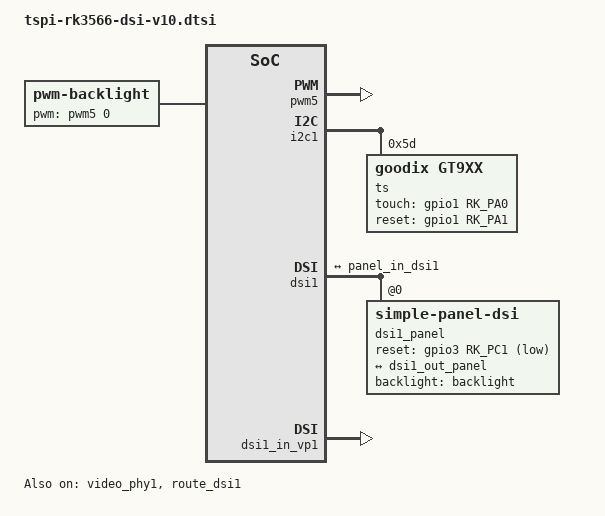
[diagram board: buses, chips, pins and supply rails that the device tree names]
// SPDX-License-Identifier: (GPL-2.0+ OR MIT)
/*
 * Copyright (c) 2020 Rockchip Electronics Co., Ltd.
 *
 */
/*********************************************************************
 *           立创开发板不靠卖板赚钱，以培养中国工程师为己任          
 *         泰山派软硬件资料与相关扩展板软硬件资料官网全部开源		 
 *                      开发板官网：www.lckfb.com                    
 *                     立创论坛：oshwhub.com/forum                   
 *            关注B站：【立创开发板】，掌握我们的最新动态！          
 *********************************************************************
 * 文件名：tspi-rk3566-dsi-v10.dtsi
 * 描述：mipi 屏幕
 * 更新:
 * 时间          作者           联系           说明
 * 2023-07-21   吴才成    1378913492@qq.com   v1.0.0
 * 2023-12-26   风漠兮    578118086@qq.com    Fit STL6.0-1-2-A
 *********************************************************************/
/ {
	backlight: backlight {
		compatible = "pwm-backlight";
		pwms = <&pwm5 0 25000 0>;
		brightness-levels = <
			  0 20 20 20 20 20 20 20
			  21 21 21 21 21 21 21 21
			  22 22 22 22 22 22 22 22
			  23 23 23 23 23 23 23 23
			  24 24 24 24 24 24 24 24
			  25 25 25 25 25 25 25 25
			  26 26 26 26 26 26 26 26
			  27 27 27 27 27 27 27 27
			  28 28 28 28 28 28 28 28
			  29 29 29 29 29 29 29 29
			  30 30 30 30 30 30 30 30
			  31 31 31 31 31 31 31 31
			  32 32 32 32 32 32 32 32
			  33 33 33 33 33 33 33 33
			  34 34 34 34 34 34 34 34
			  35 35 35 35 35 35 35 35
			  36 36 36 36 36 36 36 36
			  37 37 37 37 37 37 37 37
			  38 38 38 38 38 38 38 38
			  39 39 39 39 39 39 39 39
			  40 40 40 40 40 40 40 40
			  41 41 41 41 41 41 41 41
			  42 42 42 42 42 42 42 42
			  43 43 43 43 43 43 43 43
			  44 44 44 44 44 44 44 44
			  45 45 45 45 45 45 45 45
			  46 46 46 46 46 46 46 46
			  47 47 47 47 47 47 47 47
			  48 48 48 48 48 48 48 48
			  49 49 49 49 49 49 49 49
			  50 50 50 50 50 50 50 50
			  51 51 51 51 51 51 51 51
			  256
		>;
		default-brightness-level = <192>;
	};
};

&pwm5 {
	status = "okay";
};

&i2c1 {
	status = "okay";
	ts@5d {
		pinctrl-0 = <&touch_gpio>;
		compatible = "goodix,gt9xx";
		reg = <0x5d>;
		tp-size = <911>;
		max-x = <720>;
		max-y = <1280>;
		touch-gpio = <&gpio1 RK_PA0 IRQ_TYPE_LEVEL_LOW>;
		reset-gpio = <&gpio1 RK_PA1 GPIO_ACTIVE_HIGH>;
	};
};

&pinctrl {
	dsi1 {
		dsi1_rst_gpio: dsi1-rst-gpio {
			rockchip,pins = <3 RK_PC1 RK_FUNC_GPIO &pcfg_pull_none>;
		};
		touch_gpio: touch-gpio {
			rockchip,pins = <1 RK_PA0 RK_FUNC_GPIO &pcfg_pull_up>;
		};
	};
};

/*
 * video_phy1 needs to be enabled
 * when dsi1 is enabled
 */
&dsi1 {
	status = "okay";
};

&dsi1_in_vp0 {
	status = "disabled";
};

&dsi1_in_vp1 {
	status = "okay";
};

&video_phy1 {
	status = "okay";
};

&route_dsi1 {
	status = "okay";//wucaicheng mipi okay
	connect = <&vp1_out_dsi1>;
};

// STL6.0-1-2-A
&dsi1 {
	status = "okay";
	rockchip,lane-rate = <560>;//(720+2+2+2)*(1280+2+2+2)*60*3*8/3=448145280,+100mhz
	dsi1_panel: panel@0 {
		status = "okay";
		compatible = "simple-panel-dsi";
		reset-gpios = <&gpio3 RK_PC1 GPIO_ACTIVE_LOW>;
		pinctrl-names = "default";
		pinctrl-0 = <&dsi1_rst_gpio>;
		reg = <0>;
		backlight = <&backlight>;
		reset-delay-ms = <200>;
		enable-delay-ms = <100>;
		prepare-delay-ms = <20>;
		unprepare-delay-ms = <20>;
		disable-delay-ms = <20>;
		init-delay-ms = <120>;
		dsi,flags = <(MIPI_DSI_MODE_VIDEO | MIPI_DSI_MODE_VIDEO_BURST |
			MIPI_DSI_MODE_LPM | MIPI_DSI_MODE_EOT_PACKET)>;
		dsi,format = <MIPI_DSI_FMT_RGB888>;
		dsi,lanes  = <3>;
		panel-init-sequence = [
			// init code
			// Set EXTC
			39 00 04 B9 FF 83 94
			// Set MIPI
			39 00 03 BA 72 83
			// Set Power HX5186 Mode
			39 00 10 B1 6C 15 15 24 E4 11 F1 80 E4 97 23 80 C0 D2 58
			// Set Display
			39 00 0C B2 00 64 10 07 22 1C 08 08 1C 4D 00
			// Set CYC
			39 00 0D B4 00 FF 03 5A 03 5A 03 5A 01 6A 30 6A
			// Set VDC
			15 00 02 BC 07
			// Set Power ption HX5186 Mode
			39 00 04 BF 41 0E 01
			// Set D3
			39 00 1F D3 00 06 00 40 07 08 00 32 10 07 00 07 54 15 0F 05 04 02 12 10 05 07 33 33 0B 0B 37 10 07 07
			// Set GIP,Forward
			39 00 2D D5 04 05 06 07 00 01 02 03 20 21 22 23 18 18 18 18 18 18 18 18 19 19 18 18 18 18 1B 1B 1A 1A 18 18 18 18 18 18 18 18 18 18 18 18 18 18
			// Set D6,Backward
			39 00 2D D6 03 02 01 00 07 06 05 04 23 22 21 20 18 18 18 18 18 18 58 58 18 18 19 19 18 18 1B 1B 1A 1A 18 18 18 18 18 18 18 18 18 18 18 18 18 18
			// Set Panel
			15 00 02 CC 09
			// Set VCOM
			39 00 03 B6 51 51
			// Set Gamma
			39 00 2B E0 00 10 16 2D 33 3F 23 3E 07 0B 0D 17 0E 12 14 12 13 06 11 13 18 00 0F 16 2E 33 3F 23 3D 07 0B 0D 18 0F 12 14 12 14 07 11 12 17
			// Set C0
			39 00 03 C0 30 14
			// Set TCON ption
			39 00 05 C7 00 C0 40 C0
			// Set SAP_L ption
			15 00 02 DF 87
			// Set SETOFFSET
			15 00 02 D2 66 
			// 
			15 78 02 11 00
			15 28 02 29 00
		];

		panel-exit-sequence = [
			//05 00 01 28
			//05 00 01 10
		];

		disp_timings1: display-timings {
			native-mode = <&dsi1_timing0>;
			dsi1_timing0: timing0 {
				clock-frequency = <56000000>;// (720+2+2+2)*(1280+2+2+2)*60=56018160

				hactive = <720>;
				hfront-porch = <8>;
				hback-porch = <8>;
				hsync-len = <16>;

				vactive = <1280>;
				vfront-porch = <8>;
				vback-porch = <8>;
				vsync-len = <16>;

				hsync-active = <0>;
				vsync-active = <0>;
				de-active = <0>;
				pixelclk-active = <0>;

				swap-rb = <0>;
				swap-rg = <0>;
				swap-gb = <0>;
			};
		};

		ports {
			#address-cells = <1>;
			#size-cells = <0>;

			port@0 {
				reg = <0>;
				panel_in_dsi1: endpoint {
					remote-endpoint = <&dsi1_out_panel>;
				};
			};
		};
	};

	ports {
		#address-cells = <1>;
		#size-cells = <0>;

		port@1 {
			reg = <1>;
			dsi1_out_panel: endpoint {
				remote-endpoint = <&panel_in_dsi1>;
			};
		};
	};

};

